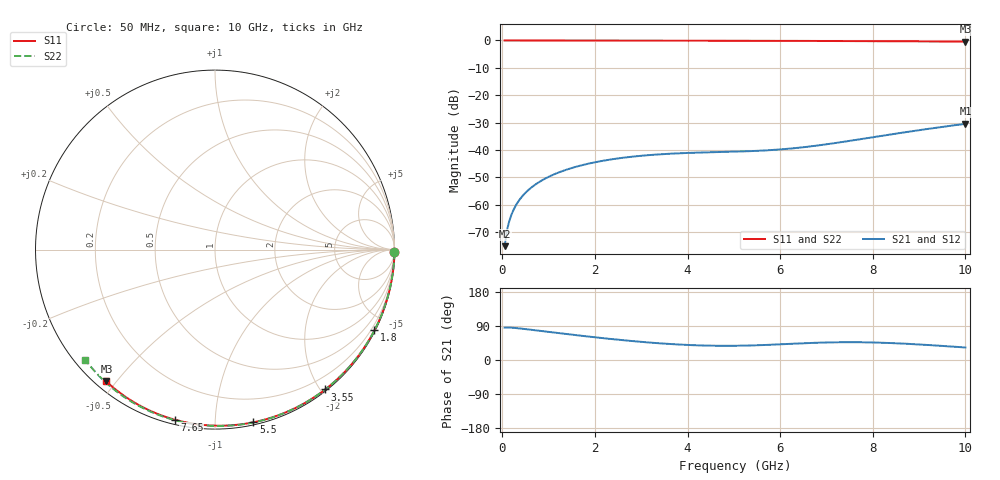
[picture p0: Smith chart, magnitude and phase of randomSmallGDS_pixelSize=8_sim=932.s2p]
! freq	dB(S11)	phase(S11)	dB(S12)	phase(S12)
!  dB(S21)	phase(S21)	dB(S22)	phase(S22)
!S-par simulation data
#  GHz  S  DB  R 50
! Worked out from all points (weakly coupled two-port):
!   200 points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, 50 MHz to 10 GHz, reference 50 ohm
!   highest |S21| = -30.45 dB at 10 GHz (marker M1); lowest = -75.1 dB at 50 MHz (marker M2)
!   lowest |S11| = -0.4 dB at 10 GHz (marker M3), VSWR 40.51, Z = 1.51 - j23.6 ohm
!   |S11| at or under -10 dB: nowhere
!   |S22| runs from -0.5 to 0.0 dB; largest |S21 - S12| = 0
!   S11 on the Smith chart (normalised r, x): 50 MHz: open; 1.8 GHz: 0.04, -4.19; 3.55 GHz: 0.02, -2.06; 5.5 GHz: 0.02, -1.25; 7.65 GHz: 0.02, -0.79; 10 GHz: 0.03, -0.47
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0.05  -0.00 -0.8  -75.14 85.2  -75.14 85.2  -0.00 -0.8
0.1  -0.00 -1.5  -69.43 85.7  -69.43 85.7  -0.00 -1.7
0.15  -0.00 -2.3  -65.99 85.7  -65.99 85.7  -0.00 -2.5
0.2  -0.00 -3.0  -63.53 85.3  -63.53 85.3  -0.00 -3.3
0.25  -0.00 -3.8  -61.61 84.9  -61.61 84.9  -0.00 -4.1
0.35  -0.00 -5.3  -58.72 83.6  -58.72 83.6  -0.00 -5.8
0.5  -0.01 -7.6  -55.66 81.6  -55.66 81.6  -0.01 -8.2
0.7  -0.01 -10.6  -52.79 78.7  -52.79 78.7  -0.01 -11.5
1  -0.02 -15.1  -49.82 74.2  -49.82 74.2  -0.02 -16.4
1.35  -0.03 -20.2  -47.40 69.1  -47.40 69.1  -0.03 -22.0
1.75  -0.03 -26.1  -45.44 63.4  -45.44 63.4  -0.04 -28.4
1.8  -0.03 -26.9  -45.24 62.7  -45.24 62.7  -0.04 -29.2
2.5  -0.05 -37.0  -43.08 53.5  -43.08 53.5  -0.05 -40.2
3.4  -0.07 -49.7  -41.59 44.0  -41.59 44.0  -0.07 -53.9
3.55  -0.07 -51.7  -41.44 42.8  -41.44 42.8  -0.08 -56.1
4.3  -0.09 -61.9  -40.93 38.3  -40.93 38.3  -0.10 -67.0
5.05  -0.11 -71.8  -40.60 37.6  -40.60 37.6  -0.12 -77.6
5.5  -0.12 -77.5  -40.33 38.8  -40.33 38.8  -0.14 -83.7
6.7  -0.18 -92.2  -38.61 45.1  -38.61 45.1  -0.19 -99.5
7.65  -0.23 -103.4  -36.29 46.9  -36.29 46.9  -0.25 -111.4
8.35  -0.28 -111.3  -34.43 44.9  -34.43 44.9  -0.30 -120.0
10  -0.43 -129.5  -30.45 33.0  -30.45 33.0  -0.46 -139.7
